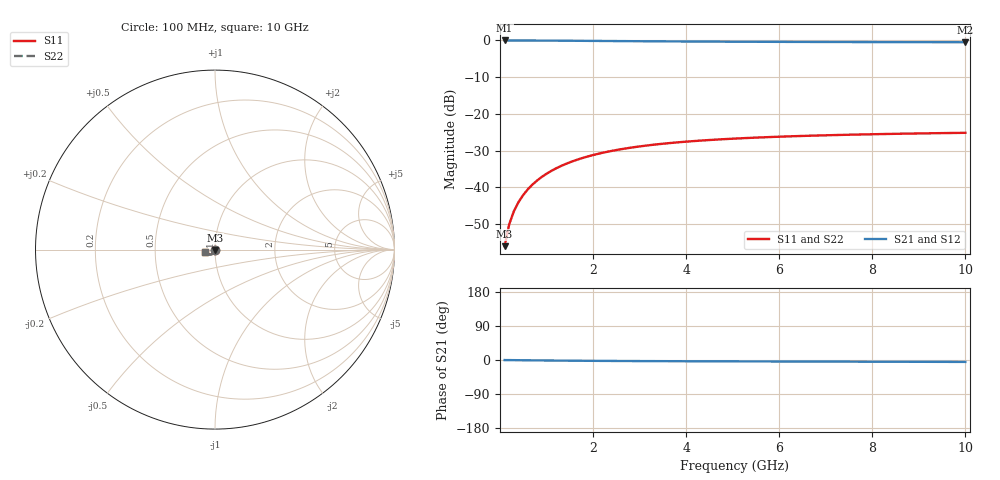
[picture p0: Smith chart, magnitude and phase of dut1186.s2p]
! Touchstone file exported from HFSS 2024.1.0
!  File:  C:/UserFiles/LocalFiles/RDL_TSV_Batchsim/temp_TSV1_1186_1780075160.aedt
!  Generated:  01:23:21 AM May 30, 2026
!  Design:  TSV1
!  Project:  temp_TSV1_1186_1780075160
!  Setup:  Setup1
!  Solution:  Sweep
! Variables:
!  dtsv = 13.22um
!  hbump = 3um
!  htsv = 77.4um
!  lrdl = 252.1521522um
!  p = 40
!  p1 = 49.84um
!  t = 500um
!  trdl = 3um
!  wrdl = 24.89489489um
# GHz S MA R 50.000000
! Terminal data exported
! Port[1] = TSV22_T1
! Port[2] = TSV22_T2
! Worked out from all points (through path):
!   100 points, 100 MHz to 10 GHz, reference 50 ohm
!   highest |S21| = 0.00 dB at 100 MHz (marker M1); lowest = -0.5 dB at 10 GHz (marker M2)
!   lowest |S11| = -56.0 dB at 100 MHz (marker M3), VSWR 1.00, Z = 50 - j0.159 ohm
!   |S11| at or under -10 dB: start of sweep to end of sweep
!   |S22| runs from -56.0 to -25.1 dB; largest |S21 - S12| = 3.9e-15
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0.1  0.001589 -88.6  0.9999 -0.1  0.9999 -0.1  0.001589 -88.6
! Gamma 0 0 0 0
! Port Impedance 50 0 50 0
0.2  0.003175 -91.7  0.9997 -0.3  0.9997 -0.3  0.003175 -91.7
0.3  0.00476 -93.8  0.9994 -0.4  0.9994 -0.4  0.00476 -93.8
0.4  0.006337 -95.8  0.9991 -0.5  0.9991 -0.5  0.006337 -95.8
0.5  0.007901 -97.6  0.9987 -0.7  0.9987 -0.7  0.007901 -97.6
0.6  0.009445 -99.4  0.9982 -0.8  0.9982 -0.8  0.009445 -99.4
0.7  0.01097 -101.2  0.9976 -0.9  0.9976 -0.9  0.01097 -101.2
0.8  0.01246 -102.9  0.9969 -1.0  0.9969 -1.0  0.01246 -102.9
0.9  0.01392 -104.6  0.9962 -1.2  0.9962 -1.2  0.01392 -104.6
1.1  0.01675 -107.8  0.9946 -1.4  0.9946 -1.4  0.01675 -107.8
1.4  0.02072 -112.4  0.9919 -1.7  0.9919 -1.7  0.02072 -112.4
1.6  0.02317 -115.3  0.9899 -1.9  0.9899 -1.9  0.02317 -115.3
1.8  0.02546 -118.1  0.9879 -2.1  0.9879 -2.1  0.02546 -118.1
2.1  0.0286 -122.0  0.9848 -2.3  0.9848 -2.3  0.0286 -122.0
2.5  0.03228 -126.6  0.9808 -2.6  0.9808 -2.6  0.03228 -126.6
2.9  0.03543 -130.8  0.9769 -2.8  0.9769 -2.8  0.03543 -130.8
3.4  0.03874 -135.4  0.9725 -3.0  0.9725 -3.0  0.03874 -135.4
4.2  0.04291 -141.6  0.9665 -3.3  0.9665 -3.3  0.04291 -141.6
5.1  0.0464 -147.2  0.9611 -3.7  0.9611 -3.7  0.0464 -147.2
6.7  0.05064 -155.0  0.9541 -4.1  0.9541 -4.1  0.05064 -155.0
8.4  0.05353 -161.2  0.9491 -4.6  0.9491 -4.6  0.05353 -161.2
10  0.05538 -166.0  0.9459 -5.1  0.9459 -5.1  0.05538 -165.9
